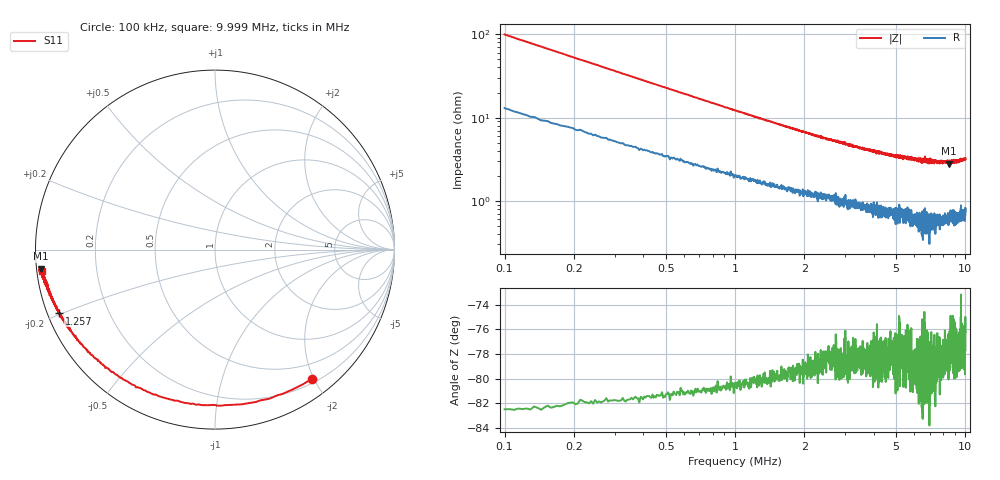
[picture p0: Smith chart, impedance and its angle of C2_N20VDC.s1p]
# HZ S RI R 50
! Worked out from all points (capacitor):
!   2020 points, 100 kHz to 9.999 MHz, reference 50 ohm
!   read as one part to ground: C = 15.1 nF near 149 kHz
!   lowest |Z| = 2.8 ohm at 8.494 MHz (marker M1)
!   S11 on the Smith chart (normalised r, x): 100 kHz: 0.26, -1.98; 1.257 MHz: 0.03, -0.20; 9.999 MHz: 0.02, -0.06
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100000  0.5409 -0.7196
119612  0.4317 -0.7796
134321  0.351 -0.8104
163739  0.2049 -0.8529
188254  0.0934 -0.8648
232381  -0.0715 -0.867
281411  -0.2252 -0.8419
320635  -0.3199 -0.8136
369665  -0.4126 -0.7732
418695  -0.4907 -0.7334
472628  -0.5574 -0.6925
536367  -0.6211 -0.6464
614815  -0.6772 -0.5956
761905  -0.7537 -0.5171
987443  -0.8253 -0.4305
1257108  -0.8693 -0.3554
1340459  -0.8772 -0.3393
1619930  -0.8964 -0.2928
1894498  -0.9148 -0.2517
2576015  -0.9351 -0.2012
3272241  -0.9488 -0.1733
3816474  -0.9581 -0.1545
5052030  -0.9668 -0.1281
6287586  -0.9697 -0.1196
7528045  -0.9722 -0.1144
8493936  -0.9702 -0.1066
8763601  -0.9682 -0.1136
9999157  -0.9629 -0.1194
